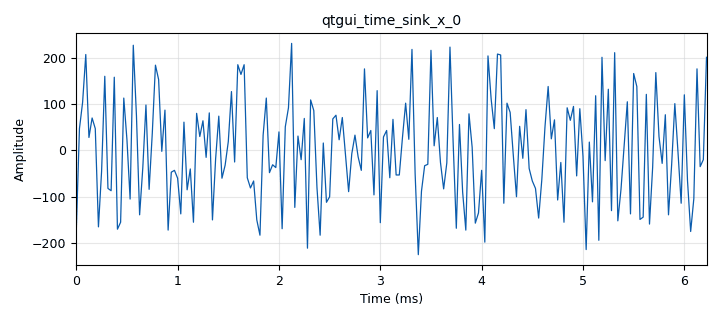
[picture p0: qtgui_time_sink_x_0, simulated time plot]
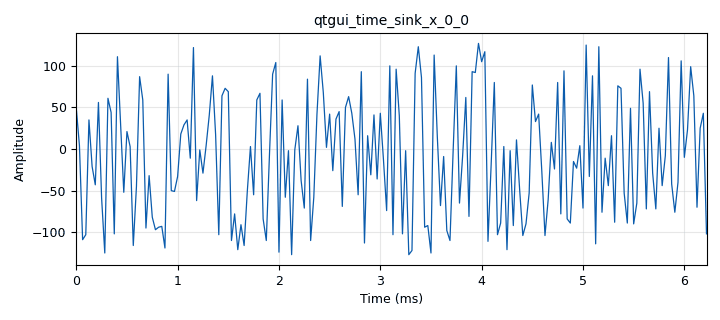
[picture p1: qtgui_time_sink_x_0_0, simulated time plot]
options:
  parameters:
    author: Hvozda Martin
    generate_options: qt_gui
    id: FirstFlowGraph
    output_language: python
    title: Starting point of semestral
  states: {}

blocks:
- name: delay
  id: variable_qtgui_range
  parameters:
    label: manual delay
    rangeType: int
    start: '0'
    step: '1'
    stop: '10'
    value: '0'
  states: {}
- name: samp_rate
  id: variable
  parameters:
    value: '32000'
  states: {}
- name: analog_random_source_x_0
  id: analog_random_source_x
  parameters:
    max: '256'
    min: '0'
    num_samps: '1000'
    repeat: 'True'
    type: byte
  states: {}
- name: blocks_char_to_float_0
  id: blocks_char_to_float
  parameters:
    scale: '1'
  states: {}
- name: blocks_char_to_float_1
  id: blocks_char_to_float
  parameters:
    scale: '1'
  states: {}
- name: blocks_delay_0
  id: blocks_delay
  parameters:
    delay: delay
    type: byte
  states: {}
- name: blocks_delay_1
  id: blocks_delay
  parameters:
    delay: '5'
    type: byte
  states: {}
- name: blocks_sub_xx_0
  id: blocks_sub_xx
  parameters:
    type: float
  states: {}
- name: blocks_throttle_0
  id: blocks_throttle
  parameters:
    samples_per_second: samp_rate
    type: float
  states: {}
- name: qtgui_time_sink_x_0
  id: qtgui_time_sink_x
  parameters:
    autoscale: 'True'
    size: '200'
    srate: samp_rate
    type: float
  states: {}
- name: qtgui_time_sink_x_0_0
  id: qtgui_time_sink_x
  parameters:
    autoscale: 'True'
    size: '200'
    srate: samp_rate
    type: float
  states: {}

connections:
- [analog_random_source_x_0, '0', blocks_delay_0, '0']
- [analog_random_source_x_0, '0', blocks_delay_1, '0']
- [blocks_char_to_float_0, '0', blocks_sub_xx_0, '0']
- [blocks_char_to_float_1, '0', blocks_sub_xx_0, '1']
- [blocks_char_to_float_1, '0', qtgui_time_sink_x_0_0, '0']
- [blocks_delay_0, '0', blocks_char_to_float_1, '0']
- [blocks_delay_1, '0', blocks_char_to_float_0, '0']
- [blocks_sub_xx_0, '0', blocks_throttle_0, '0']
- [blocks_throttle_0, '0', qtgui_time_sink_x_0, '0']

metadata:
  file_format: 1
